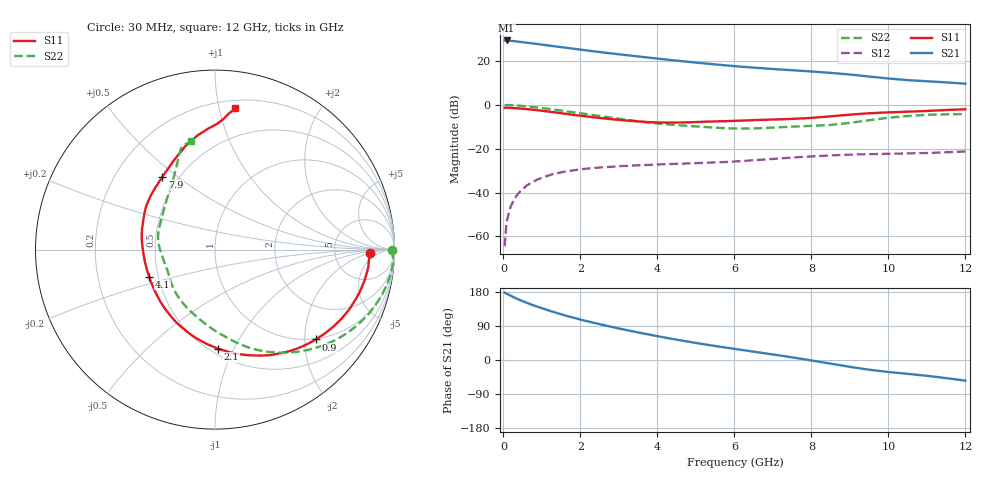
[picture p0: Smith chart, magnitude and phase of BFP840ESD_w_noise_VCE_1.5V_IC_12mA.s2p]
! Infineon Technologies  Discrete & RF Semiconductors
! BFP840ESD
! VCE =  1.5 V,  IC =  12 mA
! Common Emitter S-Parameters:  May 2012
# GHz  S  MA  R  50
!  f  S11  S21  S12  S22
! GHz  MAG  ANG  MAG  ANG  MAG  ANG  MAG  ANG
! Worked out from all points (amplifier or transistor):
!   93 points, 30 MHz to 12 GHz, reference 50 ohm
!   highest |S21| = 29.4 dB at 80 MHz (marker M1)
!   |S21| within 3 dB of that: start of sweep to 1.48 GHz
!   unconditionally stable (mu >= 1): 5.345 GHz to 9.298 GHz
!   at 1.1 GHz: K = 0.30, MSG = 29.9 dB, |S12| = -32.6 dB
!   at 4.2 GHz: K = 0.86, MSG = 23.9 dB, |S12| = -27.1 dB
!   at 12 GHz: K = 0.74, MSG = 15.5 dB, |S12| = -21.2 dB
!   lowest NFmin = 0.89 dB at 450 MHz
!   S11 on the Smith chart (normalised r, x): 30 MHz: 13, -2; 900 MHz: 0.98, -2.26; 2.1 GHz: 0.55, -0.87; 4.1 GHz: 0.45, -0.16; 7.9 GHz: 0.41, +0.44; 12 GHz: 0.26, +1.12
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0.03  0.8614 -1.4  29.45 177.7  0.0006 66.1  0.9844 -0.2
0.08  0.8595 -3.9  29.5 175.1  0.0021 66.6  0.9921 -2.5
0.28  0.8458 -13.8  28.44 165.0  0.0068 81.9  0.9795 -10.9
0.43  0.8273 -20.8  27.38 158.1  0.0106 76.1  0.9573 -16.6
0.6  0.8034 -28.6  26.24 151.1  0.0144 70.9  0.9286 -22.6
0.8  0.7694 -37.5  25.02 143.5  0.0182 66.3  0.8898 -29.2
0.9  0.7528 -41.7  24.36 140.0  0.0202 63.5  0.8694 -32.4
1.2  0.7003 -54.1  22.46 129.9  0.025 56.7  0.8063 -41.4
1.5  0.6469 -65.9  20.78 120.7  0.029 50.9  0.7425 -49.7
1.7  0.6124 -73.5  19.74 114.8  0.0313 47.4  0.7019 -54.9
2.1  0.5526 -88.1  17.76 104.2  0.0347 41.9  0.6272 -64.4
2.6  0.4932 -105.6  15.66 92.2  0.0378 35.8  0.5428 -75.5
3.1  0.4463 -123.1  13.95 81.0  0.0404 32.0  0.4703 -86.5
3.6  0.4136 -140.4  12.45 70.7  0.0423 28.8  0.4126 -98.5
4.1  0.3963 -157.7  11.14 60.9  0.044 26.1  0.37 -111.4
4.9  0.4034 178.7  9.414 46.7  0.0467 23.4  0.3273 -131.2
6.1  0.4355 155.7  7.535 27.9  0.0519 22.1  0.2893 -158.4
7.9  0.5005 125.9  5.865 0.5  0.0661 14.2  0.3301 163.0
8.5  0.5479 114.7  5.375 -9.6  0.0703 9.9  0.349 147.5
9.5  0.6443 98.6  4.432 -25.6  0.0752 2.3  0.4467 121.9
10.5  0.7004 89.1  3.673 -36.5  0.0782 -3.6  0.5578 111.2
12  0.7943 81.8  3.044 -54.6  0.0867 -10.5  0.6182 102.3
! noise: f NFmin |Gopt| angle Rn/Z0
0.45  0.89  0.22  1  0.14
0.9  0.89  0.22  4  0.14
1.5  0.9  0.22  9  0.13
1.9  0.91  0.2  13  0.12
2.4  0.91  0.17  23  0.12
3.5  0.93  0.1  61  0.1
5.5  0.99  0.07  168  0.1
8  1.11  0.3  -121  0.11
10  1.24  0.48  -85  0.2
12  1.46  0.61  -69  0.29
